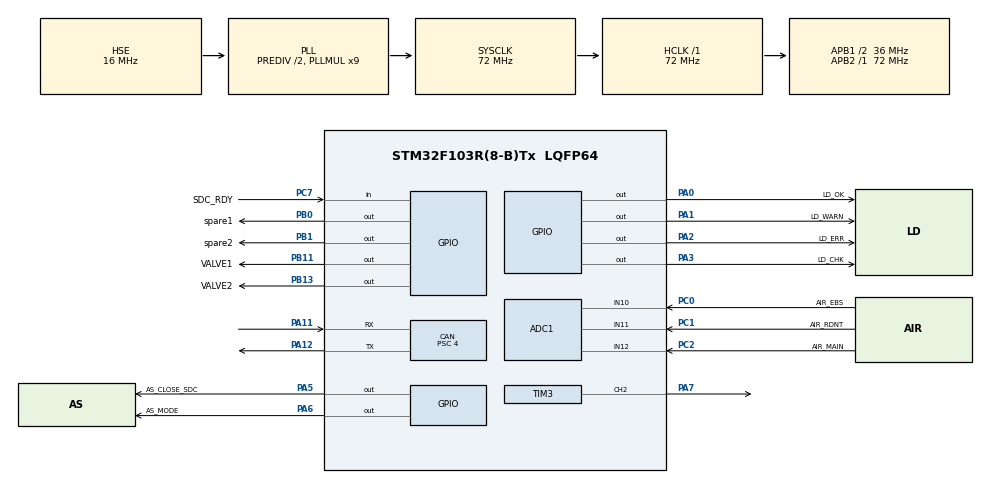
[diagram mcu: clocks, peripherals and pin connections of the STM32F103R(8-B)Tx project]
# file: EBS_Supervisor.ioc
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ADC1.Channel-0\#ChannelRegularConversion=ADC_CHANNEL_10
ADC1.Channel-1\#ChannelRegularConversion=ADC_CHANNEL_11
ADC1.Channel-2\#ChannelRegularConversion=ADC_CHANNEL_12
ADC1.ContinuousConvMode=ENABLE
ADC1.NbrOfConversion=3
ADC1.NbrOfConversionFlag=1
ADC1.Rank-0\#ChannelRegularConversion=1
ADC1.Rank-1\#ChannelRegularConversion=2
ADC1.Rank-2\#ChannelRegularConversion=3
ADC1.SamplingTime-0\#ChannelRegularConversion=ADC_SAMPLETIME_71CYCLES_5
ADC1.SamplingTime-1\#ChannelRegularConversion=ADC_SAMPLETIME_71CYCLES_5
ADC1.SamplingTime-2\#ChannelRegularConversion=ADC_SAMPLETIME_71CYCLES_5
ADC1.master=1
CAN.BS1=CAN_BS1_1TQ
CAN.BS2=CAN_BS2_7TQ
CAN.CalculateBaudRate=1000000
CAN.CalculateTimeBit=1000
CAN.CalculateTimeQuantum=111.11111111111111
CAN.Prescaler=4
Dma.ADC1.0.Direction=DMA_PERIPH_TO_MEMORY
Dma.ADC1.0.Instance=DMA1_Channel1
Dma.ADC1.0.MemDataAlignment=DMA_MDATAALIGN_HALFWORD
Dma.ADC1.0.MemInc=DMA_MINC_ENABLE
Dma.ADC1.0.Mode=DMA_CIRCULAR
Dma.ADC1.0.PeriphDataAlignment=DMA_PDATAALIGN_HALFWORD
Dma.ADC1.0.PeriphInc=DMA_PINC_DISABLE
Dma.ADC1.0.Priority=DMA_PRIORITY_LOW
Dma.Request0=ADC1
Mcu.Family=STM32F1
Mcu.Name=STM32F103R(8-B)Tx
Mcu.Package=LQFP64
NVIC.ADC1_2_IRQn=true\:0\:0\:false\:false\:true\:true\:true\:true
NVIC.CAN1_RX1_IRQn=true\:0\:0\:false\:false\:true\:true\:true\:true
NVIC.DMA1_Channel1_IRQn=true\:0\:0\:false\:false\:true\:false\:true\:true
NVIC.PriorityGroup=NVIC_PRIORITYGROUP_4
PA0-WKUP.GPIO_Label=LD_OK
PA0-WKUP.Signal=GPIO_Output
PA1.GPIO_Label=LD_WARN
PA1.Signal=GPIO_Output
PA11.Mode=CAN_Activate
PA11.Signal=CAN_RX
PA12.Mode=CAN_Activate
PA12.Signal=CAN_TX
PA13.Mode=Serial_Wire
PA13.Signal=SYS_JTMS-SWDIO
PA14.Mode=Serial_Wire
PA14.Signal=SYS_JTCK-SWCLK
PA2.GPIO_Label=LD_ERR
PA2.Signal=GPIO_Output
PA3.GPIO_Label=LD_CHK
PA3.Signal=GPIO_Output
PA5.GPIO_Label=AS_CLOSE_SDC
PA5.Signal=GPIO_Output
PA6.GPIO_Label=AS_MODE
PA6.Signal=GPIO_Output
PA7.Signal=S_TIM3_CH2
PB0.GPIO_Label=spare1
PB0.Signal=GPIO_Output
PB1.GPIO_Label=spare2
PB1.Signal=GPIO_Output
PB11.GPIO_Label=VALVE1
PB11.Signal=GPIO_Output
PB13.GPIO_Label=VALVE2
PB13.Signal=GPIO_Output
PC0.GPIO_Label=AIR_EBS
PC0.Signal=ADCx_IN10
PC1.GPIO_Label=AIR_RDNT
PC1.Signal=ADCx_IN11
PC2.GPIO_Label=AIR_MAIN
PC2.Signal=ADCx_IN12
PC7.GPIO_Label=SDC_RDY
PC7.Signal=GPIO_Input
PD0-OSC_IN.Mode=HSE-External-Oscillator
PD0-OSC_IN.Signal=RCC_OSC_IN
PD1-OSC_OUT.Mode=HSE-External-Oscillator
PD1-OSC_OUT.Signal=RCC_OSC_OUT
ProjectManager.HeapSize=0x200
ProjectManager.StackSize=0x400
ProjectManager.TargetToolchain=STM32CubeIDE
RCC.AHBFreq_Value=72000000
RCC.APB1Freq_Value=36000000
RCC.APB1TimFreq_Value=36000000
RCC.APB2Freq_Value=72000000
RCC.APB2TimFreq_Value=72000000
RCC.HCLKFreq_Value=72000000
RCC.HSE_VALUE=16000000
RCC.PLLMUL=RCC_PLL_MUL9
RCC.PLLSourceVirtual=RCC_PLLSOURCE_HSE
RCC.SYSCLKFreq_VALUE=72000000
RCC.SYSCLKSource=RCC_SYSCLKSOURCE_PLLCLK
RCC.USBFreq_Value=72000000
SH.ADCx_IN10.0=ADC1_IN10,IN10
SH.ADCx_IN11.0=ADC1_IN11,IN11
SH.ADCx_IN12.0=ADC1_IN12,IN12
SH.S_TIM3_CH2.0=TIM3_CH2,PWM Generation2 CH2
TIM3.AutoReloadPreload=TIM_AUTORELOAD_PRELOAD_ENABLE
TIM3.Channel-PWM\ Generation2\ CH2=TIM_CHANNEL_2
TIM3.Period=16524
TIM3.Prescaler=511
TIM3.Pulse-PWM\ Generation2\ CH2=1
VP_TIM3_VS_ClockSourceINT.Mode=Internal
board=custom

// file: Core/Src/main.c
/* USER CODE BEGIN Header */
/**
  ******************************************************************************
  * @file           : main.c
  * @brief          : Main program body
  ******************************************************************************
  * @attention
  *
  * Copyright (c) 2023 STMicroelectronics.
  * All rights reserved.
  *
  * This software is licensed under terms that can be found in the LICENSE file
  * in the root directory of this software component.
  * If no LICENSE file comes with this software, it is provided AS-IS.
  *
  ******************************************************************************
  */
/* USER CODE END Header */
#include "main.h"

/* USER CODE BEGIN Includes */

#include <functional>
#include <math.h>

#include "timer.hpp"
#include "gpioElements.hpp"
#include "PUTM_EV_CAN_LIBRARY/lib/can_interface.hpp"

/* USER CODE END Includes */

/* USER CODE BEGIN PD */

#define USE_TEST 1

#define USE_TEST_POINTS 1

/* USER CODE END PD */

/* USER CODE BEGIN PM */
struct Fun
{
	float a;
	float b;
	float solve(float x) { return a * x + b; }
};

/* USER CODE END PM */

ADC_HandleTypeDef hadc1;
DMA_HandleTypeDef hdma_adc1;

CAN_HandleTypeDef hcan;

TIM_HandleTypeDef htim3;

/* USER CODE BEGIN PV */

const int adc_count = 3;

volatile uint16_t adc_dma_buffer[3];

uint16_t can_timeout_counter;

Fun air_fun = { 0.0026308866087872f, -2.00210470928703f };

volatile float air_ebs;
volatile float air_redundant;
volatile float air_main;

/* GPIO Section */
GpioOutElement led_ok(LD_OK_GPIO_Port, LD_OK_Pin);
GpioOutElement led_warn(LD_WARN_GPIO_Port, LD_WARN_Pin);
GpioOutElement led_err(LD_ERR_GPIO_Port, LD_ERR_Pin);
GpioOutElement led_chk(LD_CHK_GPIO_Port, LD_CHK_Pin);

GpioOutElement as_close_sdc(AS_CLOSE_SDC_GPIO_Port, AS_CLOSE_SDC_Pin);
GpioOutElement as_mode(AS_MODE_GPIO_Port, AS_MODE_Pin);

GpioOutElement spare1(spare1_GPIO_Port, spare1_Pin);
GpioOutElement spare2(spare2_GPIO_Port, spare2_Pin);

GpioOutElement valve1(VALVE1_GPIO_Port, VALVE1_Pin);
GpioOutElement valve2(VALVE2_GPIO_Port, VALVE2_Pin);

GpioInElement sdc_ready(SDC_RDY_GPIO_Port, SDC_RDY_Pin);

static struct Config
{
	constexpr static float brake_lower_bound = 6.5f;
	constexpr static float brake_upper_bound = 8.f;
	constexpr static float brake_press_deviation = 0.01f;
	constexpr static float can_brake_offset = -0.01f;
	constexpr static float press_tf_coef = 1.f;
	constexpr static float can_brake_lower_bound = 1.f;
	constexpr static float can_engaged_brakes_upper_bound = 90.f;
	constexpr static float can_engaged_brakes_lower_bound = 60.f;

	constexpr static uint32_t sdc_settle_timeout = 100;
	constexpr static uint32_t valve_settle_delay = 200;
	constexpr static uint32_t valve_settle_timeout = 200;

	constexpr static uint16_t can_timeout = 100;
} volatile config;

/* Tests */
#if USE_TEST_POINTS
struct TestPoints
{
	volatile const uint16_t &air_ebs_adc = adc_dma_buffer[0];
	volatile const uint16_t &air_redundant_adc = adc_dma_buffer[1];
	volatile const uint16_t &air_main_adc = adc_dma_buffer[2];
	volatile float &air_ebs_ = air_ebs;
	volatile float &air_redundant_adc_ = air_redundant;
	volatile float &air_main_adc_ = air_main;

	volatile bool sdc_ready = false;
} volatile test_points;
#endif

/* USER CODE END PV */

void SystemClock_Config(void);
static void MX_GPIO_Init(void);
static void MX_DMA_Init(void);
static void MX_ADC1_Init(void);
static void MX_CAN_Init(void);
static void MX_TIM3_Init(void);
/* USER CODE BEGIN PFP */

void starTogglingWatchdog();
void stopTogglingWatchdog();

/* USER CODE END PFP */

int main(void)
{

  /* MCU Configuration--------------------------------------------------------*/

  /* Reset of all peripherals, Initializes the Flash interface and the Systick. */
  HAL_Init();

  /* Configure the system clock */
  SystemClock_Config();

  /* Initialize all configured peripherals */
  MX_GPIO_Init();
  MX_DMA_Init();
  MX_ADC1_Init();
  MX_CAN_Init();
  MX_TIM3_Init();
  /* USER CODE BEGIN 2 */
	HAL_ADCEx_Calibration_Start(&hadc1);
	HAL_ADC_Start_DMA(&hadc1, (uint32_t*)adc_dma_buffer, adc_count);
//
//	//--------------------------------------------------------------------------------------------------------------------
//	//Initial checkup
//
//	//check if sdc is working
//	Timer sdc_timeout_timer(config.sdc_settle_timeout);
//	starTogglingWatchdog();
//	while(true)
//	{
//		if(sdc_timeout_timer.checkIfTimedOutThenReset()) Error_Handler();
//		if(sdc_ready.isActive()) break;
//	}
//
//	sdc_timeout_timer.restart();
//	stopTogglingWatchdog();
//	while(true)
//	{
//		if(sdc_timeout_timer.checkIfTimedOutThenReset()) Error_Handler();
//		if(!sdc_ready.isActive()) break;
//	}
//
//	starTogglingWatchdog();
//
//	//check pressure
//	if(std::abs(air_ebs - air_redundant) > config.brake_press_deviation) Error_Handler();
//	if(config.brake_lower_bound >= air_ebs || air_ebs >= config.brake_upper_bound) Error_Handler();
//	if(config.brake_lower_bound >= air_redundant || air_redundant >= config.brake_upper_bound) Error_Handler();
//
//	auto aq_main = PUTM_CAN::can.get_aq_main();
//
//	//aq_main.break_press returns in kP and we use Bars, so times 0.01
//	float brake_press_front = aq_main.brake_pressure_front * 0.01f + config.can_brake_offset;
//	float brake_press_rear = aq_main.brake_pressure_back * 0.01f + config.can_brake_offset;
//
//	if(brake_press_front < config.press_tf_coef * air_ebs) Error_Handler();
//	if(brake_press_rear < config.press_tf_coef * air_ebs) Error_Handler();
//
//	//wait for tc enabled
//	bool tc_activated = false;
//	do
//	{
//		HAL_Delay(100);
//		auto tc_main = PUTM_CAN::can.get_tc_main();
//		tc_activated = tc_main.traction_control_enable;
//	} while(!tc_activated);
//
//	//check valves
//	valve1.activate();
//	valve2.deactivate();
//	HAL_Delay(config.valve_settle_delay);
//	Timer valve_timeout_timer(config.valve_settle_timeout);
//	while(true)
//	{
//		if(valve_timeout_timer.checkIfTimedOutThenReset()) Error_Handler();
//		if(PUTM_CAN::can.get_aq_main_new_data())
//		{
//			aq_main = PUTM_CAN::can.get_aq_main();
//
//			brake_press_front = aq_main.brake_pressure_front * 0.01f + config.can_brake_offset;
//			brake_press_rear = aq_main.brake_pressure_back * 0.01f + config.can_brake_offset;
//		}
//		if(brake_press_front > config.press_tf_coef * air_ebs && brake_press_rear < config.can_brake_lower_bound) break;
//	}
//	valve1.activate();
//	valve2.deactivate();
//	HAL_Delay(config.valve_settle_delay);
//	valve_timeout_timer.restart();
//	while(true)
//	{
//		if(valve_timeout_timer.checkIfTimedOutThenReset()) Error_Handler();
//		if(PUTM_CAN::can.get_aq_main_new_data())
//		{
//			aq_main = PUTM_CAN::can.get_aq_main();
//
//			brake_press_front = aq_main.brake_pressure_front * 0.01f + config.can_brake_offset;
//			brake_press_rear = aq_main.brake_pressure_back * 0.01f + config.can_brake_offset;
//		}
//		if(brake_press_rear > config.press_tf_coef * air_ebs && brake_press_front < config.can_brake_lower_bound) break;
//	}

  /* USER CODE END 2 */

  /* Infinite loop */
  /* USER CODE BEGIN WHILE */
	//--------------------------------------------------------------------------------------------------------------------
	//continuous monitoring

//	auto apps_main = PUTM_CAN::can.get_apps_main();
//	auto prev_apps_counter_value = apps_main.counter;
//	while (true)
//	{
//		//check sdc
//		if(!sdc_ready.isActive())
//		{
//			HAL_Delay(config.valve_settle_delay);
//			valve_timeout_timer.restart();
//			while(true)
//			{
//				if(valve_timeout_timer.checkIfTimedOutThenReset()) Error_Handler();
//				if(PUTM_CAN::can.get_aq_main_new_data())
//				{
//					aq_main = PUTM_CAN::can.get_aq_main();
//
//					brake_press_front = aq_main.brake_pressure_front * 0.01f + config.can_brake_offset;
//					brake_press_rear = aq_main.brake_pressure_back * 0.01f + config.can_brake_offset;
//				}
//				if(config.can_engaged_brakes_lower_bound < brake_press_rear 	&&
//				   config.can_engaged_brakes_upper_bound > brake_press_rear 	&&
//				   config.can_engaged_brakes_lower_bound < brake_press_front 	&&
//				   config.can_engaged_brakes_upper_bound > brake_press_front) break;
//			}
//			break;
//		}
//
//		//check if can alive
//		auto apps_main = PUTM_CAN::can.get_apps_main();
//		auto counter_value = apps_main.counter;
//		if(prev_apps_counter_value == counter_value) can_timeout_counter++;
//		else can_timeout_counter = 0;
//		if(can_timeout_counter >= config.can_timeout) Error_Handler();
//		prev_apps_counter_value = counter_value;

		//check Ass
		//TODO: do ustalenia skąd mam to niby brać

		//check RES
		//TODO: też do ustalenia

		//check pressure
//		if(std::abs(air_ebs - air_redundant) > config.brake_press_deviation) Error_Handler();
//		if(config.brake_lower_bound >= air_ebs || air_ebs >= config.brake_upper_bound) Error_Handler();
//		if(config.brake_lower_bound >= air_redundant || air_redundant >= config.brake_upper_bound) Error_Handler();

    /* USER CODE END WHILE */

    /* USER CODE BEGIN 3 */
	//}

	//--------------------------------------------------------------------------------------------------------------------
	//Stop monitoring
//	stopTogglingWatchdog();

	//TODO: idk if in stop monitoring mode sth should be done
using namespace PUTM_CAN;
	while(true) {

		AQ_main aq;
		aq.brake_pressure_back = test_points.air_ebs_adc;
		aq.brake_pressure_front = test_points.air_ebs_adc;

		auto aq_main_frame = PUTM_CAN::Can_tx_message<AQ_main>(aq, can_tx_header_AQ_MAIN);

		auto status = aq_main_frame.send(hcan);

		HAL_Delay(1000);
int chuj;

	}
  /* USER CODE END 3 */
}

void SystemClock_Config(void)
{
  RCC_OscInitTypeDef RCC_OscInitStruct = {0};
  RCC_ClkInitTypeDef RCC_ClkInitStruct = {0};
  RCC_PeriphCLKInitTypeDef PeriphClkInit = {0};

  /** Initializes the RCC Oscillators according to the specified parameters
  * in the RCC_OscInitTypeDef structure.
  */
  RCC_OscInitStruct.OscillatorType = RCC_OSCILLATORTYPE_HSE;
  RCC_OscInitStruct.HSEState = RCC_HSE_ON;
  RCC_OscInitStruct.HSEPredivValue = RCC_HSE_PREDIV_DIV2;
  RCC_OscInitStruct.HSIState = RCC_HSI_ON;
  RCC_OscInitStruct.PLL.PLLState = RCC_PLL_ON;
  RCC_OscInitStruct.PLL.PLLSource = RCC_PLLSOURCE_HSE;
  RCC_OscInitStruct.PLL.PLLMUL = RCC_PLL_MUL9;
  if (HAL_RCC_OscConfig(&RCC_OscInitStruct) != HAL_OK)
  {
    Error_Handler();
  }

  /** Initializes the CPU, AHB and APB buses clocks
  */
  RCC_ClkInitStruct.ClockType = RCC_CLOCKTYPE_HCLK|RCC_CLOCKTYPE_SYSCLK
                              |RCC_CLOCKTYPE_PCLK1|RCC_CLOCKTYPE_PCLK2;
  RCC_ClkInitStruct.SYSCLKSource = RCC_SYSCLKSOURCE_PLLCLK;
  RCC_ClkInitStruct.AHBCLKDivider = RCC_SYSCLK_DIV1;
  RCC_ClkInitStruct.APB1CLKDivider = RCC_HCLK_DIV2;
  RCC_ClkInitStruct.APB2CLKDivider = RCC_HCLK_DIV1;

  if (HAL_RCC_ClockConfig(&RCC_ClkInitStruct, FLASH_LATENCY_2) != HAL_OK)
  {
    Error_Handler();
  }
  PeriphClkInit.PeriphClockSelection = RCC_PERIPHCLK_ADC;
  PeriphClkInit.AdcClockSelection = RCC_ADCPCLK2_DIV6;
  if (HAL_RCCEx_PeriphCLKConfig(&PeriphClkInit) != HAL_OK)
  {
    Error_Handler();
  }
}

static void MX_ADC1_Init(void)
{

  ADC_ChannelConfTypeDef sConfig = {0};

  /** Common config
  */
  hadc1.Instance = ADC1;
  hadc1.Init.ScanConvMode = ADC_SCAN_ENABLE;
  hadc1.Init.ContinuousConvMode = ENABLE;
  hadc1.Init.DiscontinuousConvMode = DISABLE;
  hadc1.Init.ExternalTrigConv = ADC_SOFTWARE_START;
  hadc1.Init.DataAlign = ADC_DATAALIGN_RIGHT;
  hadc1.Init.NbrOfConversion = 3;
  if (HAL_ADC_Init(&hadc1) != HAL_OK)
  {
    Error_Handler();
  }

  /** Configure Regular Channel
  */
  sConfig.Channel = ADC_CHANNEL_10;
  sConfig.Rank = ADC_REGULAR_RANK_1;
  sConfig.SamplingTime = ADC_SAMPLETIME_71CYCLES_5;
  if (HAL_ADC_ConfigChannel(&hadc1, &sConfig) != HAL_OK)
  {
    Error_Handler();
  }

  /** Configure Regular Channel
  */
  sConfig.Channel = ADC_CHANNEL_11;
  sConfig.Rank = ADC_REGULAR_RANK_2;
  if (HAL_ADC_ConfigChannel(&hadc1, &sConfig) != HAL_OK)
  {
    Error_Handler();
  }

  /** Configure Regular Channel
  */
  sConfig.Channel = ADC_CHANNEL_12;
  sConfig.Rank = ADC_REGULAR_RANK_3;
  if (HAL_ADC_ConfigChannel(&hadc1, &sConfig) != HAL_OK)
  {
    Error_Handler();
  }

}

static void MX_CAN_Init(void)
{

  hcan.Instance = CAN1;
  hcan.Init.Prescaler = 4;
  hcan.Init.Mode = CAN_MODE_NORMAL;
  hcan.Init.SyncJumpWidth = CAN_SJW_1TQ;
  hcan.Init.TimeSeg1 = CAN_BS1_1TQ;
  hcan.Init.TimeSeg2 = CAN_BS2_7TQ;
  hcan.Init.TimeTriggeredMode = DISABLE;
  hcan.Init.AutoBusOff = DISABLE;
  hcan.Init.AutoWakeUp = DISABLE;
  hcan.Init.AutoRetransmission = DISABLE;
  hcan.Init.ReceiveFifoLocked = DISABLE;
  hcan.Init.TransmitFifoPriority = DISABLE;
  if (HAL_CAN_Init(&hcan) != HAL_OK)
  {
    Error_Handler();
  }

}

static void MX_TIM3_Init(void)
{

  TIM_ClockConfigTypeDef sClockSourceConfig = {0};
  TIM_MasterConfigTypeDef sMasterConfig = {0};
  TIM_OC_InitTypeDef sConfigOC = {0};

  htim3.Instance = TIM3;
  htim3.Init.Prescaler = 511;
  htim3.Init.CounterMode = TIM_COUNTERMODE_UP;
  htim3.Init.Period = 16524;
  htim3.Init.ClockDivision = TIM_CLOCKDIVISION_DIV1;
  htim3.Init.AutoReloadPreload = TIM_AUTORELOAD_PRELOAD_ENABLE;
  if (HAL_TIM_Base_Init(&htim3) != HAL_OK)
  {
    Error_Handler();
  }
  sClockSourceConfig.ClockSource = TIM_CLOCKSOURCE_INTERNAL;
  if (HAL_TIM_ConfigClockSource(&htim3, &sClockSourceConfig) != HAL_OK)
  {
    Error_Handler();
  }
  if (HAL_TIM_PWM_Init(&htim3) != HAL_OK)
  {
    Error_Handler();
  }
  sMasterConfig.MasterOutputTrigger = TIM_TRGO_RESET;
  sMasterConfig.MasterSlaveMode = TIM_MASTERSLAVEMODE_DISABLE;
  if (HAL_TIMEx_MasterConfigSynchronization(&htim3, &sMasterConfig) != HAL_OK)
  {
    Error_Handler();
  }
  sConfigOC.OCMode = TIM_OCMODE_PWM1;
  sConfigOC.Pulse = 1;
  sConfigOC.OCPolarity = TIM_OCPOLARITY_HIGH;
  sConfigOC.OCFastMode = TIM_OCFAST_DISABLE;
  if (HAL_TIM_PWM_ConfigChannel(&htim3, &sConfigOC, TIM_CHANNEL_2) != HAL_OK)
  {
    Error_Handler();
  }
  HAL_TIM_MspPostInit(&htim3);

}

static void MX_DMA_Init(void)
{

  /* DMA controller clock enable */
  __HAL_RCC_DMA1_CLK_ENABLE();

  /* DMA interrupt init */
  /* DMA1_Channel1_IRQn interrupt configuration */
  HAL_NVIC_SetPriority(DMA1_Channel1_IRQn, 0, 0);
  HAL_NVIC_EnableIRQ(DMA1_Channel1_IRQn);

}

static void MX_GPIO_Init(void)
{
  GPIO_InitTypeDef GPIO_InitStruct = {0};

  /* GPIO Ports Clock Enable */
  __HAL_RCC_GPIOD_CLK_ENABLE();
  __HAL_RCC_GPIOC_CLK_ENABLE();
  __HAL_RCC_GPIOA_CLK_ENABLE();
  __HAL_RCC_GPIOB_CLK_ENABLE();

  /*Configure GPIO pin Output Level */
  HAL_GPIO_WritePin(GPIOA, LD_OK_Pin|LD_WARN_Pin|LD_ERR_Pin|LD_CHK_Pin
                          |AS_CLOSE_SDC_Pin|AS_MODE_Pin, GPIO_PIN_RESET);

  /*Configure GPIO pin Output Level */
  HAL_GPIO_WritePin(GPIOB, spare1_Pin|spare2_Pin|VALVE1_Pin|VALVE2_Pin, GPIO_PIN_RESET);

  /*Configure GPIO pins : LD_OK_Pin LD_WARN_Pin LD_ERR_Pin LD_CHK_Pin
                           AS_CLOSE_SDC_Pin AS_MODE_Pin */
  GPIO_InitStruct.Pin = LD_OK_Pin|LD_WARN_Pin|LD_ERR_Pin|LD_CHK_Pin
                          |AS_CLOSE_SDC_Pin|AS_MODE_Pin;
  GPIO_InitStruct.Mode = GPIO_MODE_OUTPUT_PP;
  GPIO_InitStruct.Pull = GPIO_NOPULL;
  GPIO_InitStruct.Speed = GPIO_SPEED_FREQ_LOW;
  HAL_GPIO_Init(GPIOA, &GPIO_InitStruct);

  /*Configure GPIO pins : spare1_Pin spare2_Pin VALVE1_Pin VALVE2_Pin */
  GPIO_InitStruct.Pin = spare1_Pin|spare2_Pin|VALVE1_Pin|VALVE2_Pin;
  GPIO_InitStruct.Mode = GPIO_MODE_OUTPUT_PP;
  GPIO_InitStruct.Pull = GPIO_NOPULL;
  GPIO_InitStruct.Speed = GPIO_SPEED_FREQ_LOW;
  HAL_GPIO_Init(GPIOB, &GPIO_InitStruct);

  /*Configure GPIO pin : SDC_RDY_Pin */
  GPIO_InitStruct.Pin = SDC_RDY_Pin;
  GPIO_InitStruct.Mode = GPIO_MODE_INPUT;
  GPIO_InitStruct.Pull = GPIO_NOPULL;
  HAL_GPIO_Init(SDC_RDY_GPIO_Port, &GPIO_InitStruct);

}

/* USER CODE BEGIN 4 */

void HAL_ADC_ConsCpltCallback(ADC_HandleTypeDef *hadc)
{
	air_ebs = air_fun.solve(float(adc_dma_buffer[0]));
	air_redundant = air_fun.solve(float(adc_dma_buffer[1]));
	air_main = air_fun.solve(float(adc_dma_buffer[2]));
	HAL_ADC_Start_DMA(&hadc1, (uint32_t*)adc_dma_buffer, adc_count);
}

void starTogglingWatchdog()
{
	HAL_TIM_PWM_Start(&htim3, TIM_CHANNEL_2);
}

void stopTogglingWatchdog()
{
	HAL_TIM_PWM_Stop(&htim3, TIM_CHANNEL_2);
}

/* USER CODE END 4 */

void Error_Handler(void)
{
  /* USER CODE BEGIN Error_Handler_Debug */
  /* User can add his own implementation to report the HAL error return state */
  __disable_irq();

  led_err.activate();
  stopTogglingWatchdog();

  Timer can_send_timer(100);
  while (1)
  {
	  if(can_send_timer.checkIfTimedOutThenReset())
	  {
		  PUTM_CAN::DV_Ass dv_ass
		  {
			  .status = PUTM_CAN::AutonomousSystemStatus::Emergency
		  };
		  PUTM_CAN::Can_tx_message<PUTM_CAN::DV_Ass> can_sender(dv_ass, PUTM_CAN::can_tx_header_DV_ASS);
		  if(can_sender.send(hcan) != HAL_StatusTypeDef::HAL_OK) led_chk.activate();
	  }

	//TODO: wysyłanie ramki do ASSI
  }
  /* USER CODE END Error_Handler_Debug */
}
